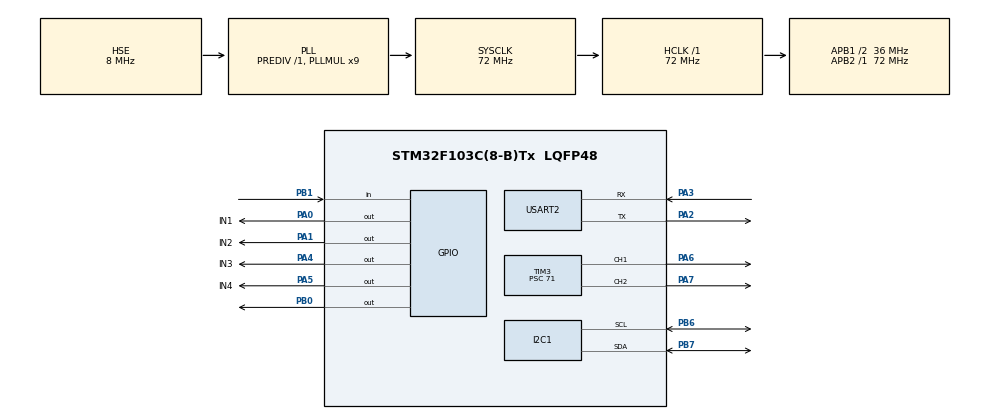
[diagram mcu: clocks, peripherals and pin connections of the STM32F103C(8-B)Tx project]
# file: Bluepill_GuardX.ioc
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I2C1.I2C_Mode=I2C_Fast
Mcu.Family=STM32F1
Mcu.Name=STM32F103C(8-B)Tx
Mcu.Package=LQFP48
NVIC.PriorityGroup=NVIC_PRIORITYGROUP_4
NVIC.USART2_IRQn=true\:0\:0\:false\:false\:true\:true\:true\:true
PA0-WKUP.GPIO_Label=IN1
PA0-WKUP.Signal=GPIO_Output
PA1.GPIO_Label=IN2
PA1.Signal=GPIO_Output
PA13.Mode=Serial_Wire
PA13.Signal=SYS_JTMS-SWDIO
PA14.Mode=Serial_Wire
PA14.Signal=SYS_JTCK-SWCLK
PA2.Mode=Asynchronous
PA2.Signal=USART2_TX
PA3.Mode=Asynchronous
PA3.Signal=USART2_RX
PA4.GPIO_Label=IN3
PA4.Signal=GPIO_Output
PA5.GPIO_Label=IN4
PA5.Signal=GPIO_Output
PA6.Signal=S_TIM3_CH1
PA7.Signal=S_TIM3_CH2
PB0.Signal=GPIO_Output
PB1.Signal=GPIO_Input
PB6.Mode=I2C
PB6.Signal=I2C1_SCL
PB7.Mode=I2C
PB7.Signal=I2C1_SDA
PD0-OSC_IN.Mode=HSE-External-Oscillator
PD0-OSC_IN.Signal=RCC_OSC_IN
PD1-OSC_OUT.Mode=HSE-External-Oscillator
PD1-OSC_OUT.Signal=RCC_OSC_OUT
ProjectManager.HeapSize=0x200
ProjectManager.StackSize=0x400
ProjectManager.TargetToolchain=STM32CubeIDE
RCC.AHBFreq_Value=72000000
RCC.APB1CLKDivider=RCC_HCLK_DIV2
RCC.APB1Freq_Value=36000000
RCC.APB1TimFreq_Value=72000000
RCC.APB2Freq_Value=72000000
RCC.APB2TimFreq_Value=72000000
RCC.HCLKFreq_Value=72000000
RCC.PLLMUL=RCC_PLL_MUL9
RCC.PLLSourceVirtual=RCC_PLLSOURCE_HSE
RCC.SYSCLKFreq_VALUE=72000000
RCC.SYSCLKSource=RCC_SYSCLKSOURCE_PLLCLK
RCC.USBFreq_Value=72000000
SH.S_TIM3_CH1.0=TIM3_CH1,PWM Generation1 CH1
SH.S_TIM3_CH2.0=TIM3_CH2,PWM Generation2 CH2
TIM2.Prescaler=71
TIM3.Channel-PWM\ Generation1\ CH1=TIM_CHANNEL_1
TIM3.Channel-PWM\ Generation2\ CH2=TIM_CHANNEL_2
TIM3.Period=1000
TIM3.Prescaler=71
USART2.VirtualMode=VM_ASYNC
VP_TIM2_VS_ClockSourceINT.Mode=Internal
VP_TIM3_VS_ClockSourceINT.Mode=Internal
board=custom

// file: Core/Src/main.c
/* USER CODE BEGIN Header */
/**
  ******************************************************************************
  * @file           : main.c
  * @brief          : Main program body
  ******************************************************************************
  * @attention
  *
  * Copyright (c) 2026 STMicroelectronics.
  * All rights reserved.
  *
  * This software is licensed under terms that can be found in the LICENSE file
  * in the root directory of this software component.
  * If no LICENSE file comes with this software, it is provided AS-IS.
  *
  ******************************************************************************
  */
/* USER CODE END Header */
#include "main.h"

/* USER CODE BEGIN Includes */
#include <stdio.h>
#include <string.h>
#include <math.h>

#include "esp01.h"
#include "motor.h"
#include "hcsr04.h"
#include "mpu6050.h"
/* USER CODE END Includes */

I2C_HandleTypeDef hi2c1;

TIM_HandleTypeDef htim2;
TIM_HandleTypeDef htim3;

UART_HandleTypeDef huart2;

/* USER CODE BEGIN PV */
uint8_t rxChar;
float dist = 0;
float vel = 0;
uint32_t now, lastTX = 0, lastSonar = 0;
uint32_t TX_Delay = 200; // 200ms

/* USER CODE END PV */

void SystemClock_Config(void);
static void MX_GPIO_Init(void);
static void MX_USART2_UART_Init(void);
static void MX_TIM3_Init(void);
static void MX_TIM2_Init(void);
static void MX_I2C1_Init(void);

/* USER CODE BEGIN 0 */

// ------- printf redirect to ESP01 ----------
int _write(int file,char *ptr,int len){
    HAL_UART_Transmit(&huart2,(uint8_t*)ptr,len,HAL_MAX_DELAY);
    return len;
}

void HAL_UART_RxCpltCallback(UART_HandleTypeDef *huart)
{
    if(huart->Instance == USART2){
        ESP01_Decode(rxChar);
        HAL_UART_Receive_IT(&huart2,&rxChar,1);
    }
}

/* USER CODE END 0 */

int main(void)
{

  /* MCU Configuration--------------------------------------------------------*/

  /* Reset of all peripherals, Initializes the Flash interface and the Systick. */
  HAL_Init();

  /* Configure the system clock */
  SystemClock_Config();

  /* Initialize all configured peripherals */
  MX_GPIO_Init();
  MX_USART2_UART_Init();
  MX_TIM3_Init();
  MX_TIM2_Init();
  MX_I2C1_Init();
  /* USER CODE BEGIN 2 */
  Motor_Init(&htim3);
  HCSR04_Init(&htim2);
  MPU6050_Init(&hi2c1);
  MPU6050_Calibrate();

  HAL_UART_Receive_IT(&huart2,&rxChar,1);
  /* USER CODE END 2 */

  /* Infinite loop */
  /* USER CODE BEGIN WHILE */

  while (1)
  {
      now = HAL_GetTick();

      vel = compute_Velocity();

      if((now - lastSonar) > 50)
      {
          dist = HCSR04_Read();
          lastSonar = now;
      }

      if((now - lastTX) > TX_Delay)
      {
          printf("D:%.2f\r\nV:%.2f\r\n", dist, vel);

          lastTX = now;
      }
  }
  /* USER CODE END 3 */
}

void SystemClock_Config(void)
{
  RCC_OscInitTypeDef RCC_OscInitStruct = {0};
  RCC_ClkInitTypeDef RCC_ClkInitStruct = {0};

  /** Initializes the RCC Oscillators according to the specified parameters
  * in the RCC_OscInitTypeDef structure.
  */
  RCC_OscInitStruct.OscillatorType = RCC_OSCILLATORTYPE_HSE;
  RCC_OscInitStruct.HSEState = RCC_HSE_ON;
  RCC_OscInitStruct.HSEPredivValue = RCC_HSE_PREDIV_DIV1;
  RCC_OscInitStruct.HSIState = RCC_HSI_ON;
  RCC_OscInitStruct.PLL.PLLState = RCC_PLL_ON;
  RCC_OscInitStruct.PLL.PLLSource = RCC_PLLSOURCE_HSE;
  RCC_OscInitStruct.PLL.PLLMUL = RCC_PLL_MUL9;
  if (HAL_RCC_OscConfig(&RCC_OscInitStruct) != HAL_OK)
  {
    Error_Handler();
  }

  /** Initializes the CPU, AHB and APB buses clocks
  */
  RCC_ClkInitStruct.ClockType = RCC_CLOCKTYPE_HCLK|RCC_CLOCKTYPE_SYSCLK
                              |RCC_CLOCKTYPE_PCLK1|RCC_CLOCKTYPE_PCLK2;
  RCC_ClkInitStruct.SYSCLKSource = RCC_SYSCLKSOURCE_PLLCLK;
  RCC_ClkInitStruct.AHBCLKDivider = RCC_SYSCLK_DIV1;
  RCC_ClkInitStruct.APB1CLKDivider = RCC_HCLK_DIV2;
  RCC_ClkInitStruct.APB2CLKDivider = RCC_HCLK_DIV1;

  if (HAL_RCC_ClockConfig(&RCC_ClkInitStruct, FLASH_LATENCY_2) != HAL_OK)
  {
    Error_Handler();
  }
}

static void MX_I2C1_Init(void)
{

  hi2c1.Instance = I2C1;
  hi2c1.Init.ClockSpeed = 400000;
  hi2c1.Init.DutyCycle = I2C_DUTYCYCLE_2;
  hi2c1.Init.OwnAddress1 = 0;
  hi2c1.Init.AddressingMode = I2C_ADDRESSINGMODE_7BIT;
  hi2c1.Init.DualAddressMode = I2C_DUALADDRESS_DISABLE;
  hi2c1.Init.OwnAddress2 = 0;
  hi2c1.Init.GeneralCallMode = I2C_GENERALCALL_DISABLE;
  hi2c1.Init.NoStretchMode = I2C_NOSTRETCH_DISABLE;
  if (HAL_I2C_Init(&hi2c1) != HAL_OK)
  {
    Error_Handler();
  }

}

static void MX_TIM2_Init(void)
{

  TIM_ClockConfigTypeDef sClockSourceConfig = {0};
  TIM_MasterConfigTypeDef sMasterConfig = {0};

  htim2.Instance = TIM2;
  htim2.Init.Prescaler = 71;
  htim2.Init.CounterMode = TIM_COUNTERMODE_UP;
  htim2.Init.Period = 65535;
  htim2.Init.ClockDivision = TIM_CLOCKDIVISION_DIV1;
  htim2.Init.AutoReloadPreload = TIM_AUTORELOAD_PRELOAD_DISABLE;
  if (HAL_TIM_Base_Init(&htim2) != HAL_OK)
  {
    Error_Handler();
  }
  sClockSourceConfig.ClockSource = TIM_CLOCKSOURCE_INTERNAL;
  if (HAL_TIM_ConfigClockSource(&htim2, &sClockSourceConfig) != HAL_OK)
  {
    Error_Handler();
  }
  sMasterConfig.MasterOutputTrigger = TIM_TRGO_RESET;
  sMasterConfig.MasterSlaveMode = TIM_MASTERSLAVEMODE_DISABLE;
  if (HAL_TIMEx_MasterConfigSynchronization(&htim2, &sMasterConfig) != HAL_OK)
  {
    Error_Handler();
  }

}

static void MX_TIM3_Init(void)
{

  TIM_ClockConfigTypeDef sClockSourceConfig = {0};
  TIM_MasterConfigTypeDef sMasterConfig = {0};
  TIM_OC_InitTypeDef sConfigOC = {0};

  htim3.Instance = TIM3;
  htim3.Init.Prescaler = 71;
  htim3.Init.CounterMode = TIM_COUNTERMODE_UP;
  htim3.Init.Period = 1000;
  htim3.Init.ClockDivision = TIM_CLOCKDIVISION_DIV1;
  htim3.Init.AutoReloadPreload = TIM_AUTORELOAD_PRELOAD_DISABLE;
  if (HAL_TIM_Base_Init(&htim3) != HAL_OK)
  {
    Error_Handler();
  }
  sClockSourceConfig.ClockSource = TIM_CLOCKSOURCE_INTERNAL;
  if (HAL_TIM_ConfigClockSource(&htim3, &sClockSourceConfig) != HAL_OK)
  {
    Error_Handler();
  }
  if (HAL_TIM_PWM_Init(&htim3) != HAL_OK)
  {
    Error_Handler();
  }
  sMasterConfig.MasterOutputTrigger = TIM_TRGO_RESET;
  sMasterConfig.MasterSlaveMode = TIM_MASTERSLAVEMODE_DISABLE;
  if (HAL_TIMEx_MasterConfigSynchronization(&htim3, &sMasterConfig) != HAL_OK)
  {
    Error_Handler();
  }
  sConfigOC.OCMode = TIM_OCMODE_PWM1;
  sConfigOC.Pulse = 0;
  sConfigOC.OCPolarity = TIM_OCPOLARITY_HIGH;
  sConfigOC.OCFastMode = TIM_OCFAST_DISABLE;
  if (HAL_TIM_PWM_ConfigChannel(&htim3, &sConfigOC, TIM_CHANNEL_1) != HAL_OK)
  {
    Error_Handler();
  }
  if (HAL_TIM_PWM_ConfigChannel(&htim3, &sConfigOC, TIM_CHANNEL_2) != HAL_OK)
  {
    Error_Handler();
  }
  HAL_TIM_MspPostInit(&htim3);

}

static void MX_USART2_UART_Init(void)
{

  huart2.Instance = USART2;
  huart2.Init.BaudRate = 115200;
  huart2.Init.WordLength = UART_WORDLENGTH_8B;
  huart2.Init.StopBits = UART_STOPBITS_1;
  huart2.Init.Parity = UART_PARITY_NONE;
  huart2.Init.Mode = UART_MODE_TX_RX;
  huart2.Init.HwFlowCtl = UART_HWCONTROL_NONE;
  huart2.Init.OverSampling = UART_OVERSAMPLING_16;
  if (HAL_UART_Init(&huart2) != HAL_OK)
  {
    Error_Handler();
  }

}

static void MX_GPIO_Init(void)
{
  GPIO_InitTypeDef GPIO_InitStruct = {0};

  /* GPIO Ports Clock Enable */
  __HAL_RCC_GPIOD_CLK_ENABLE();
  __HAL_RCC_GPIOA_CLK_ENABLE();
  __HAL_RCC_GPIOB_CLK_ENABLE();

  /*Configure GPIO pin Output Level */
  HAL_GPIO_WritePin(GPIOA, IN1_Pin|IN2_Pin|IN3_Pin|IN4_Pin, GPIO_PIN_RESET);

  /*Configure GPIO pin Output Level */
  HAL_GPIO_WritePin(GPIOB, GPIO_PIN_0, GPIO_PIN_RESET);

  /*Configure GPIO pins : IN1_Pin IN2_Pin IN3_Pin IN4_Pin */
  GPIO_InitStruct.Pin = IN1_Pin|IN2_Pin|IN3_Pin|IN4_Pin;
  GPIO_InitStruct.Mode = GPIO_MODE_OUTPUT_PP;
  GPIO_InitStruct.Pull = GPIO_NOPULL;
  GPIO_InitStruct.Speed = GPIO_SPEED_FREQ_LOW;
  HAL_GPIO_Init(GPIOA, &GPIO_InitStruct);

  /*Configure GPIO pin : PB0 */
  GPIO_InitStruct.Pin = GPIO_PIN_0;
  GPIO_InitStruct.Mode = GPIO_MODE_OUTPUT_PP;
  GPIO_InitStruct.Pull = GPIO_NOPULL;
  GPIO_InitStruct.Speed = GPIO_SPEED_FREQ_LOW;
  HAL_GPIO_Init(GPIOB, &GPIO_InitStruct);

  /*Configure GPIO pin : PB1 */
  GPIO_InitStruct.Pin = GPIO_PIN_1;
  GPIO_InitStruct.Mode = GPIO_MODE_INPUT;
  GPIO_InitStruct.Pull = GPIO_NOPULL;
  HAL_GPIO_Init(GPIOB, &GPIO_InitStruct);

}

void Error_Handler(void)
{
  __disable_irq();
  while (1)
  {
  }
}
